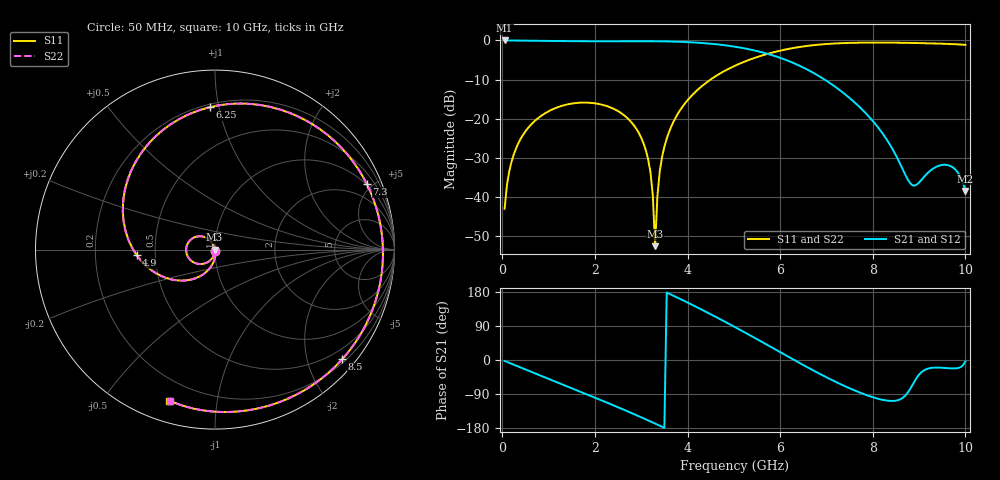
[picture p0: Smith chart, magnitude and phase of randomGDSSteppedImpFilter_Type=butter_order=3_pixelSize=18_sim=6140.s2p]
! freq	dB(S11)	phase(S11)	dB(S12)	phase(S12)
!  dB(S21)	phase(S21)	dB(S22)	phase(S22)
!S-par simulation data
#  GHz  S  DB  R 50
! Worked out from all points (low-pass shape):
!   200 points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, 50 MHz to 10 GHz, reference 50 ohm
!   highest |S21| = -0.01 dB at 50 MHz (marker M1); lowest = -38.5 dB at 10 GHz (marker M2)
!   |S21| within 3 dB of the highest: start of sweep to 5.599 GHz
!   lowest |S11| = -52.6 dB at 3.3 GHz (marker M3), VSWR 1.00, Z = 49.8 - j0.105 ohm
!   |S11| at or under -10 dB: start of sweep to 4.497 GHz
!   |S22| runs from -53.5 to -0.5 dB; largest |S21 - S12| = 0
!   S11 on the Smith chart (normalised r, x): 50 MHz: 1.00, -0.01; 4.9 GHz: 0.39, -0.03; 6.25 GHz: 0.22, +0.94; 7.3 GHz: 0.95, +4.63; 8.5 GHz: 0.27, -2.66; 10 GHz: 0.10, -0.74
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0.05  -43.00 -92.2  -0.01 -2.6  -0.01 -2.6  -43.00 -92.2
0.2  -30.98 -100.3  -0.03 -10.1  -0.03 -10.1  -30.98 -100.3
0.5  -23.23 -115.5  -0.05 -25.0  -0.05 -25.0  -23.23 -115.5
1.75  -15.88 -177.7  -0.21 -86.8  -0.21 -86.8  -15.88 -177.7
3  -24.86 118.6  -0.20 -151.2  -0.20 -151.2  -24.85 118.2
3.2  -33.75 109.4  -0.21 -162.2  -0.21 -162.2  -33.73 108.0
3.25  -39.50 109.5  -0.21 -164.9  -0.21 -164.9  -39.49 106.4
3.3  -52.56 -153.3  -0.22 -167.7  -0.22 -167.7  -53.53 -141.6
3.35  -39.68 -87.3  -0.22 -170.5  -0.22 -170.5  -39.76 -84.0
3.4  -33.46 -87.2  -0.23 -173.4  -0.23 -173.4  -33.49 -85.5
3.85  -17.63 -111.0  -0.35 160.6  -0.35 160.6  -17.64 -110.6
4.9  -7.17 -176.2  -1.39 95.0  -1.39 95.0  -7.17 -175.9
5.05  -6.32 174.0  -1.66 85.2  -1.66 85.2  -6.33 174.2
5.65  -3.70 133.5  -3.17 44.8  -3.17 44.8  -3.70 133.8
6.25  -2.01 92.2  -5.59 3.6  -5.59 3.6  -2.01 92.4
6.7  -1.24 61.6  -8.17 -26.6  -8.17 -26.6  -1.24 61.9
7.3  -0.71 23.5  -12.81 -63.6  -12.81 -63.6  -0.71 23.7
8.35  -0.56 -33.6  -26.24 -107.8  -26.24 -107.8  -0.56 -33.4
8.5  -0.58 -40.8  -29.37 -107.3  -29.37 -107.3  -0.58 -40.6
8.85  -0.64 -56.9  -36.96 -67.2  -36.96 -67.2  -0.64 -56.8
9.6  -0.88 -89.3  -31.80 -21.4  -31.80 -21.4  -0.88 -89.2
10  -1.13 -106.8  -38.48 -3.8  -38.48 -3.8  -1.13 -106.7
